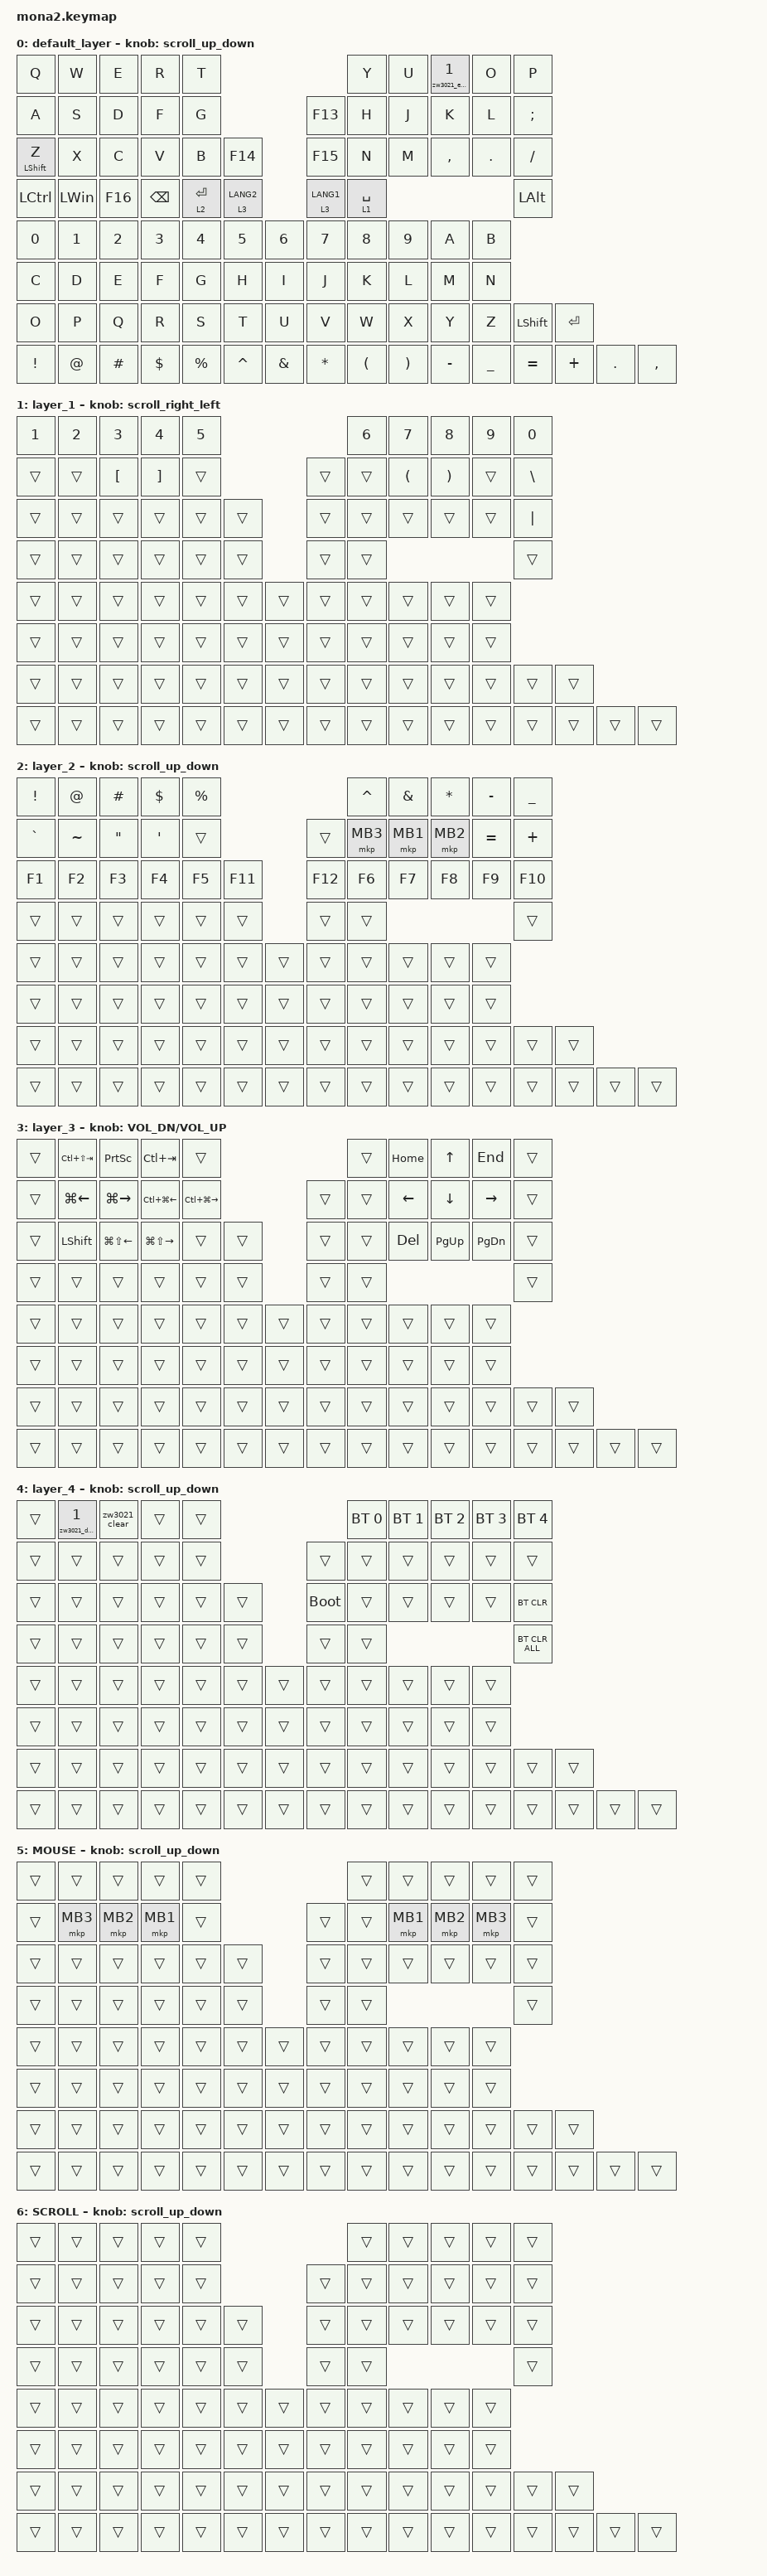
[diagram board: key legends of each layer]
#include <input/processors.dtsi>
#include <dt-bindings/zmk/input_transform.h>
#include <zephyr/dt-bindings/input/input-event-codes.h>
#include <behaviors.dtsi>
#include <dt-bindings/zmk/bt.h>
#include <dt-bindings/zmk/keys.h>
#include <dt-bindings/zmk/pointing.h>

#define ZMK_POINTING_DEFAULT_SCRL_VAL 100
#define MOUSE 5
#define SCROLL 6

&mt {
    flavor = "balanced";
    quick-tap-ms = <0>;
};

&lt {
    quick-tap-ms = <300>;
    flavor = "balanced";
};

/ {
    combos {
        compatible = "zmk,combos";

        layer4_ESC {
            bindings = <&lt 4 ESC>;
            key-positions = <39 38>;
        };

        tab {
            bindings = <&kp TAB>;
            key-positions = <11 12>;
        };
    };

    macros {
        to_layer_0: to_layer_0 {
            compatible = "zmk,behavior-macro-one-param";
            #binding-cells = <1>;
            bindings = <&to 0 &macro_param_1to1 &kp MACRO_PLACEHOLDER>;
            label = "TO_LAYER_0";
        };
    };

    behaviors {
        lt_to_layer_0: lt_to_layer_0 {
            compatible = "zmk,behavior-hold-tap";
            label = "LAYER_TAP_TO_0";
            bindings = <&mo>, <&to_layer_0>;

            #binding-cells = <2>;
            tapping-term-ms = <200>;
        };

        scroll_up_down: mouse_wheel_up_down {
            compatible = "zmk,behavior-sensor-rotate";
            #sensor-binding-cells = <0>;
            bindings = <&msc SCRL_DOWN>, <&msc SCRL_UP>;

            tap-ms = <20>;
        };

        scroll_right_left: mouse_wheel_right_left {
            compatible = "zmk,behavior-sensor-rotate";
            #sensor-binding-cells = <0>;
            bindings = <&msc SCRL_LEFT>, <&msc SCRL_RIGHT>;

            tap-ms = <20>;
        };
    };

    keymap {
        compatible = "zmk,keymap";

        default_layer {
            // &zw3021_enroll 1 temporarily replaces &kp I for enroll
            // testing; restore &kp I once done testing.
            bindings = <
&kp Q             &kp W         &kp E    &kp R          &kp T                                                          &kp Y        &kp U  &zw3021_enroll 1  &kp O    &kp P
&kp A             &kp S         &kp D    &kp F          &kp G                                  &kp F13                 &kp H        &kp J  &kp K      &kp L    &kp SEMICOLON
&mt LEFT_SHIFT Z  &kp X         &kp C    &kp V          &kp B        &kp F14                   &kp F15                 &kp N        &kp M  &kp COMMA  &kp DOT  &kp SLASH
&kp LCTRL         &kp LEFT_WIN  &kp F16  &kp BACKSPACE  &lt 2 ENTER  &lt_to_layer_0 3 LANG2    &lt_to_layer_0 3 LANG1  &lt 1 SPACE                             &kp LEFT_ALT

// ZW3021 virtual output keyboard (positions 41-94, row 4 in the transform):
// what &zw3021_emit_string() in zw3021.c actually "types" per character.
// Only meaningful here on default_layer -- other layers pass these through
// via &trans below.
&kp NUMBER_0 &kp NUMBER_1 &kp NUMBER_2 &kp NUMBER_3 &kp NUMBER_4 &kp NUMBER_5 &kp NUMBER_6 &kp NUMBER_7 &kp NUMBER_8 &kp NUMBER_9 &kp A &kp B
&kp C &kp D &kp E &kp F &kp G &kp H &kp I &kp J &kp K &kp L &kp M &kp N
&kp O &kp P &kp Q &kp R &kp S &kp T &kp U &kp V &kp W &kp X &kp Y &kp Z
// Virtual slots 37-52: US-keyboard top-row symbols (! @ # $ % ^ & * ( ) - _ = +)
// plus . , (needed for email addresses) -- see zw3021.c
// ZW3021_OUTPUT_SYMBOL_BASE / zw3021_char_to_offset()).
&kp EXCLAMATION &kp AT_SIGN &kp POUND &kp DOLLAR &kp PERCENT &kp CARET &kp AMPERSAND &kp ASTERISK &kp LEFT_PARENTHESIS &kp RIGHT_PARENTHESIS &kp MINUS &kp UNDERSCORE
&kp EQUAL &kp PLUS &kp DOT &kp COMMA
// 53rd virtual slot: LSHIFT, held while typing an uppercase letter (see
// zw3021.c ZW3021_OUTPUT_SHIFT_OFFSET). 54th: Enter, sent after the
// output string when enabled per-fingerprint-ID via the serial RPC's
// set_finger_enter command.
&kp LSHIFT &kp ENTER
            >;

            sensor-bindings = <&scroll_up_down>;
        };

        layer_1 {
            bindings = <
&kp NUMBER_1  &kp NUMBER_2  &kp NUMBER_3      &kp NUMBER_4       &kp NUMBER_5                    &kp NUMBER_6  &kp NUMBER_7          &kp NUMBER_8           &kp NUMBER_9  &kp NUMBER_0
&trans        &trans        &kp LEFT_BRACKET  &kp RIGHT_BRACKET  &trans                  &trans  &trans        &kp LEFT_PARENTHESIS  &kp RIGHT_PARENTHESIS  &trans        &kp BACKSLASH
&trans        &trans        &trans            &trans             &trans        &trans    &trans  &trans        &trans                &trans                 &trans        &kp PIPE
&trans        &trans        &trans            &trans             &trans        &trans    &trans  &trans                                                                   &trans

&trans &trans &trans &trans &trans &trans &trans &trans &trans &trans &trans &trans
&trans &trans &trans &trans &trans &trans &trans &trans &trans &trans &trans &trans
&trans &trans &trans &trans &trans &trans &trans &trans &trans &trans &trans &trans
&trans &trans &trans &trans &trans &trans &trans &trans &trans &trans &trans &trans
&trans &trans &trans &trans &trans &trans
            >;

            sensor-bindings = <&scroll_right_left>;
        };

        layer_2 {
            bindings = <
&kp EXCLAMATION  &kp AT_SIGN  &kp POUND          &kp DOLLAR  &kp PERCENT                      &kp CARET  &kp AMPERSAND  &kp ASTERISK  &kp MINUS  &kp UNDERSCORE
&kp GRAVE        &kp TILDE    &kp DOUBLE_QUOTES  &kp SQT     &trans                  &trans   &mkp MB3   &mkp MB1       &mkp MB2      &kp EQUAL  &kp PLUS
&kp F1           &kp F2       &kp F3             &kp F4      &kp F5       &kp F11    &kp F12  &kp F6     &kp F7         &kp F8        &kp F9     &kp F10
&trans           &trans       &trans             &trans      &trans       &trans     &trans   &trans                                             &trans

&trans &trans &trans &trans &trans &trans &trans &trans &trans &trans &trans &trans
&trans &trans &trans &trans &trans &trans &trans &trans &trans &trans &trans &trans
&trans &trans &trans &trans &trans &trans &trans &trans &trans &trans &trans &trans
&trans &trans &trans &trans &trans &trans &trans &trans &trans &trans &trans &trans
&trans &trans &trans &trans &trans &trans
            >;

            sensor-bindings = <&scroll_up_down>;
        };

        layer_3 {
            bindings = <
&trans  &kp LC(LS(TAB))     &kp PRINTSCREEN         &kp LC(TAB)              &trans                                     &trans  &kp HOME        &kp UP_ARROW    &kp END          &trans
&trans  &kp LG(LEFT_ARROW)  &kp LG(RIGHT_ARROW)     &kp LC(LG(LEFT_ARROW))   &kp LC(LG(RIGHT_ARROW))            &trans  &trans  &kp LEFT_ARROW  &kp DOWN_ARROW  &kp RIGHT_ARROW  &trans
&trans  &kp LEFT_SHIFT      &kp LG(LS(LEFT_ARROW))  &kp LG(LS(RIGHT_ARROW))  &trans                   &trans    &trans  &trans  &kp DELETE      &kp PAGE_UP     &kp PAGE_DOWN    &trans
&trans  &trans              &trans                  &trans                   &trans                   &trans    &trans  &trans                                                   &trans

&trans &trans &trans &trans &trans &trans &trans &trans &trans &trans &trans &trans
&trans &trans &trans &trans &trans &trans &trans &trans &trans &trans &trans &trans
&trans &trans &trans &trans &trans &trans &trans &trans &trans &trans &trans &trans
&trans &trans &trans &trans &trans &trans &trans &trans &trans &trans &trans &trans
&trans &trans &trans &trans &trans &trans
            >;

            sensor-bindings = <&inc_dec_kp C_VOL_DN C_VOL_UP>;
        };

        layer_4 {
            // &zw3021_delete/&zw3021_clear are placeholder positions for
            // ZW3021 fingerprint admin (Left side only does anything);
            // move them wherever convenient. &zw3021_enroll now lives on
            // default_layer in place of &kp I for testing.
            bindings = <
&trans            &zw3021_delete 1  &zw3021_clear  &trans  &trans                         &bt BT_SEL 0  &bt BT_SEL 1  &bt BT_SEL 2  &bt BT_SEL 3  &bt BT_SEL 4
&trans            &trans            &trans         &trans  &trans            &trans       &trans        &trans        &trans        &trans        &trans
&trans            &trans            &trans         &trans  &trans  &trans    &bootloader  &trans        &trans        &trans        &trans        &bt BT_CLR
&trans            &trans            &trans         &trans  &trans  &trans    &trans       &trans                                                  &bt BT_CLR_ALL

&trans &trans &trans &trans &trans &trans &trans &trans &trans &trans &trans &trans
&trans &trans &trans &trans &trans &trans &trans &trans &trans &trans &trans &trans
&trans &trans &trans &trans &trans &trans &trans &trans &trans &trans &trans &trans
&trans &trans &trans &trans &trans &trans &trans &trans &trans &trans &trans &trans
&trans &trans &trans &trans &trans &trans
            >;

            sensor-bindings = <&scroll_up_down>;
        };

        MOUSE {
            bindings = <
&trans  &trans    &trans    &trans    &trans                    &trans  &trans    &trans    &trans    &trans
&trans  &mkp MB3  &mkp MB2  &mkp MB1  &trans            &trans  &trans  &mkp MB1  &mkp MB2  &mkp MB3  &trans
&trans  &trans    &trans    &trans    &trans  &trans    &trans  &trans  &trans    &trans    &trans    &trans
&trans  &trans    &trans    &trans    &trans  &trans    &trans  &trans                                &trans

&trans &trans &trans &trans &trans &trans &trans &trans &trans &trans &trans &trans
&trans &trans &trans &trans &trans &trans &trans &trans &trans &trans &trans &trans
&trans &trans &trans &trans &trans &trans &trans &trans &trans &trans &trans &trans
&trans &trans &trans &trans &trans &trans &trans &trans &trans &trans &trans &trans
&trans &trans &trans &trans &trans &trans
            >;

            sensor-bindings = <&scroll_up_down>;
        };

        SCROLL {
            bindings = <
&trans  &trans  &trans  &trans  &trans                    &trans  &trans  &trans  &trans  &trans
&trans  &trans  &trans  &trans  &trans            &trans  &trans  &trans  &trans  &trans  &trans
&trans  &trans  &trans  &trans  &trans  &trans    &trans  &trans  &trans  &trans  &trans  &trans
&trans  &trans  &trans  &trans  &trans  &trans    &trans  &trans                          &trans

&trans &trans &trans &trans &trans &trans &trans &trans &trans &trans &trans &trans
&trans &trans &trans &trans &trans &trans &trans &trans &trans &trans &trans &trans
&trans &trans &trans &trans &trans &trans &trans &trans &trans &trans &trans &trans
&trans &trans &trans &trans &trans &trans &trans &trans &trans &trans &trans &trans
&trans &trans &trans &trans &trans &trans
            >;

            sensor-bindings = <&scroll_up_down>;
        };
    };
};
